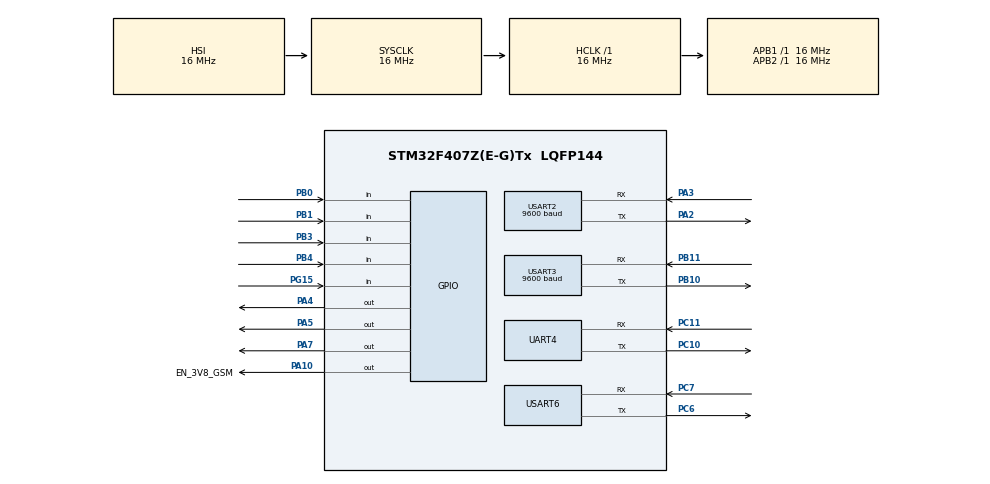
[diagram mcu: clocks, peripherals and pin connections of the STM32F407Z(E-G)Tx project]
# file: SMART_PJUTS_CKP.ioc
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Mcu.Family=STM32F4
Mcu.Name=STM32F407Z(E-G)Tx
Mcu.Package=LQFP144
NVIC.PriorityGroup=NVIC_PRIORITYGROUP_4
NVIC.USART2_IRQn=true\:0\:0\:false\:false\:true\:true\:true\:true
PA10.GPIO_Label=EN_3V8_GSM
PA10.Signal=GPIO_Output
PA13.Mode=Serial_Wire
PA13.Signal=SYS_JTMS-SWDIO
PA14.Mode=Serial_Wire
PA14.Signal=SYS_JTCK-SWCLK
PA2.Mode=Asynchronous
PA2.Signal=USART2_TX
PA3.Mode=Asynchronous
PA3.Signal=USART2_RX
PA4.Signal=GPIO_Output
PA5.Signal=GPIO_Output
PA7.Signal=GPIO_Output
PB0.Signal=GPIO_Input
PB1.Signal=GPIO_Input
PB10.Mode=Asynchronous
PB10.Signal=USART3_TX
PB11.Mode=Asynchronous
PB11.Signal=USART3_RX
PB3.Signal=GPIO_Input
PB4.Signal=GPIO_Input
PC10.Mode=Asynchronous
PC10.Signal=UART4_TX
PC11.Mode=Asynchronous
PC11.Signal=UART4_RX
PC6.Mode=Asynchronous
PC6.Signal=USART6_TX
PC7.Mode=Asynchronous
PC7.Signal=USART6_RX
PG15.Signal=GPIO_Input
ProjectManager.HeapSize=0x200
ProjectManager.StackSize=0x400
ProjectManager.TargetToolchain=STM32CubeIDE
RCC.AHBFreq_Value=16000000
RCC.APB1Freq_Value=16000000
RCC.APB2Freq_Value=16000000
RCC.CortexFreq_Value=16000000
RCC.HSE_VALUE=25000000
RCC.HSI_VALUE=16000000
RCC.LSE_VALUE=32768
RCC.SYSCLKFreq_VALUE=16000000
RCC.VCOOutputFreq_Value=192000000
UART4.VirtualMode=Asynchronous
USART2.BaudRate=9600
USART2.VirtualMode=VM_ASYNC
USART3.BaudRate=9600
USART3.VirtualMode=VM_ASYNC
USART6.VirtualMode=VM_ASYNC
board=custom

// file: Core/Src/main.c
/* USER CODE BEGIN Header */
/**
  ******************************************************************************
  * @file           : main.c
  * @brief          : Main program body
  ******************************************************************************
  * @attention
  *
  * Copyright (c) 2026 STMicroelectronics.
  * All rights reserved.
  *
  * This software is licensed under terms that can be found in the LICENSE file
  * in the root directory of this software component.
  * If no LICENSE file comes with this software, it is provided AS-IS.
  *
  ******************************************************************************
  */
/* USER CODE END Header */
#include "main.h"

/* USER CODE BEGIN Includes */
#include "mqtt.h"
#include "uart.h"
#include "config.h"
#include "read_sensor.h"
#include <stdlib.h>
#include <stdio.h>
/* USER CODE END Includes */

/* USER CODE BEGIN PTD */
static uint32_t last_read_tick    = 0;  /* timer pembacaan sensor SRNE  */
static uint32_t last_publish_tick = 0;  /* timer publish MQTT           */

static int     retry_count_local = 0;
static int     total_retry       = 0;
static char    last_topic[128]   = {0};
static char    last_payload[512] = {0};

/* Bangun 1 object JSON "DATA" dari nilai sensor SRNE + waktu saat ini,
 * sesuai format payload yang diminta.                                       */
static void Build_Sensor_Payload(char *out, size_t out_size)
{
    snprintf(out, out_size,
        "{\"UID\":\"%s\",\"HEADER\":\"%s\","
        "\"CTIME\":\"%04d%02d%02dT%02d%02d%02d\","
        "\"VBAT\":%g,\"IBAT\":%g,\"SOCBAT\":%g,"
        "\"DEVTEMP\":%g,\"BATTEMP\":%g,"
        "\"VLOAD\":%g,\"ILOAD\":%g,\"PLOAD\":%g,"
        "\"VPV\":%g,\"IPV\":%g,\"PPV\":%g,"
        "\"CHRSTATE\":%u}",
        uid, header_x,
        year, month, day, hour, minute, second,
        (double)batteryVoltage, (double)batteryCurrent, (double)batterySOC,
        (double)deviceTemperature, (double)batteryTemperature,
        (double)loadVoltage, (double)loadCurrent, (double)loadPower,
        (double)pvVolt, (double)pvCurrent, (double)pvPower,
        (unsigned)chargeState);
}
/* USER CODE END PTD */

UART_HandleTypeDef huart4;
UART_HandleTypeDef huart2;
UART_HandleTypeDef huart3;
UART_HandleTypeDef huart6;

void SystemClock_Config(void);
static void MX_GPIO_Init(void);
static void MX_UART4_Init(void);
static void MX_USART2_UART_Init(void);
static void MX_USART3_UART_Init(void);
static void MX_USART6_UART_Init(void);

int main(void)
{

  /* USER CODE BEGIN 1 */
	  uint32_t millis(void) {
		return HAL_GetTick();
	  }
  /* USER CODE END 1 */

  /* MCU Configuration--------------------------------------------------------*/

  /* Reset of all peripherals, Initializes the Flash interface and the Systick. */
  HAL_Init();

  /* Configure the system clock */
  SystemClock_Config();

  /* Initialize all configured peripherals */
  MX_GPIO_Init();
  MX_UART4_Init();
  MX_USART2_UART_Init();
  MX_USART3_UART_Init();
  MX_USART6_UART_Init();
  /* USER CODE BEGIN 2 */
  UART_Init_Buffer(&huart2);  /* modem terhubung ke USART2 di board ini */
  HAL_GPIO_WritePin(EN_3V8_GSM_GPIO_Port, EN_3V8_GSM_Pin, GPIO_PIN_SET);
  HAL_Delay(6000);
  Read_All_Sensor();

  for (int i = 0; i < 3; i++)
  {
      UART_SendATCommand("ATE0");
      if (UART_WaitForOK(2000)) break;
      HAL_Delay(500);
  }

  /* ── Build MQTT credentials dari config.c ───────────────────────────────── */
  MQTT_Config mqtt_cfg = Config_GetMQTT();
  MQTT_Init(&mqtt_cfg);

  /* ── MQTT connection sequence ────────────────────────────────────────────── */
    MQTT_START:
    retry_count_local = 0;
    total_retry        = 0;

    UART_SendATCommand("AT+QMTCFG=\"session\",0,1");
    UART_WaitForOK(3000);
    UART_SendATCommand("AT+QMTCFG=\"keepalive\",0,3600");
    UART_WaitForOK(3000);

    UART_SendATCommand("AT+QMTDISC=0");
    HAL_Delay(500);
    UART_SendATCommand("AT+QMTCLOSE=0");
    HAL_Delay(2000);

    while (MQTT_Open() != MQTT_OK)
    {
        MQTT_CheckNetwork();
        UART_SendATCommand("AT+QMTCLOSE=0");
        HAL_Delay(3000);
        retry_count_local++;
        total_retry++;

        if (total_retry >= 10)
        {
            HAL_GPIO_WritePin(EN_3V8_GSM_GPIO_Port, EN_3V8_GSM_Pin, GPIO_PIN_RESET);
            HAL_Delay(3000);
            NVIC_SystemReset();
            while (1) {}
        }
        if (retry_count_local >= 5)
        {
            retry_count_local = 0;
            goto MQTT_START;
        }
    }

    while (MQTT_Connect() != MQTT_OK)
    {
        UART_SendATCommand("AT+QMTDISC=0");
        retry_count_local++;
        HAL_Delay(500);
        if (retry_count_local >= 3)
        {
            retry_count_local = 0;
            goto MQTT_START;
        }
        total_retry++;
        if (total_retry > 10)
        {
            NVIC_SystemReset();
            while (1) {}
        }
    }

    retry_count_local = 0;
    while (MQTT_Subscribe(mqtt_topic_sub, 1) != MQTT_OK)
    {
        HAL_Delay(500);
        retry_count_local++;
        if (retry_count_local >= 5) goto MQTT_START;
    }

    MQTT_Publish(mqtt_topic_pub, "{\"MSG\":\"Terhubung SRNE-MQTT\"}", 1, 0);
    HAL_Delay(50);

    /* Baca sensor pertama kali (setelah modem siap → mqtt_read_time bisa jalan) */
    Read_All_Sensor();
    HAL_Delay(100);
    char data_obj[512];
    Build_Sensor_Payload(data_obj, sizeof(data_obj));
    MQTT_PublishWithCRC(mqtt_topic_pub, data_obj, 1, 0);

    last_read_tick    = HAL_GetTick();
    last_publish_tick = HAL_GetTick();
  /* USER CODE END 2 */

  /* Infinite loop */
  while (1)
  {

    /* USER CODE BEGIN 3 */
	  uint32_t now = HAL_GetTick();

	       /* ── Baca sensor SRNE (via Modbus di huart3) tiap read_interval ────── */
	       if ((now - last_read_tick) >= read_interval)
	       {
	           last_read_tick = now;
	           Read_All_Sensor();   /* ini juga panggil mqtt_read_time() → update year..second */
	       }

	       /* ── Publish data ke MQTT tiap send_interval ──────────────────────── */
//	       if ((now - last_publish_tick) >= send_interval)
//	       {
//	           last_publish_tick = now;
//
//	           char data_obj[512];
//	           Build_Sensor_Payload(data_obj, sizeof(data_obj));
//
//	           if (MQTT_PublishWithCRC(mqtt_topic_pub, data_obj, 1, 0) != MQTT_OK)
//	           {
//	               resend_count++;
//	           }
//	       }

	       /* ── Reconnect otomatis kalau modem lapor +QMTSTAT disconnect ──────── */
	       if (mqtt_disconnected)
	       {
	           mqtt_disconnected = false;
	           if (MQTT_Reconnect() == MQTT_OK)
	           {
	               MQTT_Subscribe(mqtt_topic_sub, 1);
	           }
	           else
	           {
	               goto MQTT_START;
	           }
	       }

	       /* ── Proses pesan downlink (mis. request data on-demand H:"R") ──────── */
	      	   if (mqtt_data_ready)
	      	   {
	      	       if (MQTT_ProcessIncoming(last_topic,   sizeof(last_topic),
	      	                                last_payload, sizeof(last_payload)))
	      	       {
	      	           UART_ClearBuffer();

	      	           /* Dua format payload didukung:
	      	            *   1) Dengan CRC : {"CRC":"XXXX","DATA":{...}}   → diverifikasi
	      	            *   2) Tanpa CRC  : {"DATA":{...}}  atau  {...} langsung
	      	            *      (mis. {"H":"R"} polos) → dipakai apa adanya, TANPA
	      	            *      pengecekan integritas.                                   */
	      	           char data_obj_in[512];
	      	           bool got_data = false;

	      	           if (strstr(last_payload, "\"CRC\":") != NULL)
	      	           {
	      	               /* Ada field CRC → wajib valid, kalau salah payload ditolak */
	      	               if (MQTT_VerifyPayloadCRC(last_payload))
	      	               {
	      	                   got_data = MQTT_ExtractDataObject(last_payload, data_obj_in,
	      	                                                     sizeof(data_obj_in));
	      	               }
	      	           }
	      	           else if (strstr(last_payload, "\"DATA\":") != NULL)
	      	           {
	      	               /* Tanpa CRC tapi masih dibungkus "DATA": {...} */
	      	               got_data = MQTT_ExtractDataObject(last_payload, data_obj_in,
	      	                                                 sizeof(data_obj_in));
	      	           }
	      	           else
	      	           {
	      	               /* Payload langsung berupa object command, mis. {"H":"R"} */
	      	               strncpy(data_obj_in, last_payload, sizeof(data_obj_in) - 1);
	      	               data_obj_in[sizeof(data_obj_in) - 1] = '\0';
	      	               got_data = true;
	      	           }

	      	           if (got_data)
	      	           {
	      	               /* Command H:"R" → kirim data sensor sekarang juga */
	      	               if (strstr(data_obj_in, "\"H\":\"R\"") != NULL)
	      	               {
	      	                   Read_All_Sensor();

	      	                   char data_obj_out[512];
	      	                   Build_Sensor_Payload(data_obj_out, sizeof(data_obj_out));
	      	                   MQTT_PublishWithCRC(mqtt_topic_pub, data_obj_out, 1, 0);
	      	               }
	      	           }
	      	       }
	      	       else
	      	       {
	      	           /* Parsing gagal — reset manual */
	      	           mqtt_data_ready = false;
	      	           UART_ClearBuffer();
	      	       }
	      	   }

	       HAL_Delay(10);
	   }
  /* USER CODE END 3 */
}

void SystemClock_Config(void)
{
  RCC_OscInitTypeDef RCC_OscInitStruct = {0};
  RCC_ClkInitTypeDef RCC_ClkInitStruct = {0};

  /** Configure the main internal regulator output voltage
  */
  __HAL_RCC_PWR_CLK_ENABLE();
  __HAL_PWR_VOLTAGESCALING_CONFIG(PWR_REGULATOR_VOLTAGE_SCALE1);

  /** Initializes the RCC Oscillators according to the specified parameters
  * in the RCC_OscInitTypeDef structure.
  */
  RCC_OscInitStruct.OscillatorType = RCC_OSCILLATORTYPE_HSI;
  RCC_OscInitStruct.HSIState = RCC_HSI_ON;
  RCC_OscInitStruct.HSICalibrationValue = RCC_HSICALIBRATION_DEFAULT;
  RCC_OscInitStruct.PLL.PLLState = RCC_PLL_NONE;
  if (HAL_RCC_OscConfig(&RCC_OscInitStruct) != HAL_OK)
  {
    Error_Handler();
  }

  /** Initializes the CPU, AHB and APB buses clocks
  */
  RCC_ClkInitStruct.ClockType = RCC_CLOCKTYPE_HCLK|RCC_CLOCKTYPE_SYSCLK
                              |RCC_CLOCKTYPE_PCLK1|RCC_CLOCKTYPE_PCLK2;
  RCC_ClkInitStruct.SYSCLKSource = RCC_SYSCLKSOURCE_HSI;
  RCC_ClkInitStruct.AHBCLKDivider = RCC_SYSCLK_DIV1;
  RCC_ClkInitStruct.APB1CLKDivider = RCC_HCLK_DIV1;
  RCC_ClkInitStruct.APB2CLKDivider = RCC_HCLK_DIV1;

  if (HAL_RCC_ClockConfig(&RCC_ClkInitStruct, FLASH_LATENCY_0) != HAL_OK)
  {
    Error_Handler();
  }
}

static void MX_UART4_Init(void)
{

  huart4.Instance = UART4;
  huart4.Init.BaudRate = 115200;
  huart4.Init.WordLength = UART_WORDLENGTH_8B;
  huart4.Init.StopBits = UART_STOPBITS_1;
  huart4.Init.Parity = UART_PARITY_NONE;
  huart4.Init.Mode = UART_MODE_TX_RX;
  huart4.Init.HwFlowCtl = UART_HWCONTROL_NONE;
  huart4.Init.OverSampling = UART_OVERSAMPLING_16;
  if (HAL_UART_Init(&huart4) != HAL_OK)
  {
    Error_Handler();
  }

}

static void MX_USART2_UART_Init(void)
{

  huart2.Instance = USART2;
  huart2.Init.BaudRate = 9600;
  huart2.Init.WordLength = UART_WORDLENGTH_8B;
  huart2.Init.StopBits = UART_STOPBITS_1;
  huart2.Init.Parity = UART_PARITY_NONE;
  huart2.Init.Mode = UART_MODE_TX_RX;
  huart2.Init.HwFlowCtl = UART_HWCONTROL_NONE;
  huart2.Init.OverSampling = UART_OVERSAMPLING_16;
  if (HAL_UART_Init(&huart2) != HAL_OK)
  {
    Error_Handler();
  }

}

static void MX_USART3_UART_Init(void)
{

  huart3.Instance = USART3;
  huart3.Init.BaudRate = 9600;
  huart3.Init.WordLength = UART_WORDLENGTH_8B;
  huart3.Init.StopBits = UART_STOPBITS_1;
  huart3.Init.Parity = UART_PARITY_NONE;
  huart3.Init.Mode = UART_MODE_TX_RX;
  huart3.Init.HwFlowCtl = UART_HWCONTROL_NONE;
  huart3.Init.OverSampling = UART_OVERSAMPLING_16;
  if (HAL_UART_Init(&huart3) != HAL_OK)
  {
    Error_Handler();
  }

}

static void MX_USART6_UART_Init(void)
{

  huart6.Instance = USART6;
  huart6.Init.BaudRate = 115200;
  huart6.Init.WordLength = UART_WORDLENGTH_8B;
  huart6.Init.StopBits = UART_STOPBITS_1;
  huart6.Init.Parity = UART_PARITY_NONE;
  huart6.Init.Mode = UART_MODE_TX_RX;
  huart6.Init.HwFlowCtl = UART_HWCONTROL_NONE;
  huart6.Init.OverSampling = UART_OVERSAMPLING_16;
  if (HAL_UART_Init(&huart6) != HAL_OK)
  {
    Error_Handler();
  }

}

static void MX_GPIO_Init(void)
{
  GPIO_InitTypeDef GPIO_InitStruct = {0};

  /* GPIO Ports Clock Enable */
  __HAL_RCC_GPIOA_CLK_ENABLE();
  __HAL_RCC_GPIOB_CLK_ENABLE();
  __HAL_RCC_GPIOC_CLK_ENABLE();
  __HAL_RCC_GPIOG_CLK_ENABLE();

  /*Configure GPIO pin Output Level */
  HAL_GPIO_WritePin(GPIOA, GPIO_PIN_4|GPIO_PIN_5|GPIO_PIN_7|EN_3V8_GSM_Pin, GPIO_PIN_RESET);

  /*Configure GPIO pins : PA4 PA5 PA7 EN_3V8_GSM_Pin */
  GPIO_InitStruct.Pin = GPIO_PIN_4|GPIO_PIN_5|GPIO_PIN_7|EN_3V8_GSM_Pin;
  GPIO_InitStruct.Mode = GPIO_MODE_OUTPUT_PP;
  GPIO_InitStruct.Pull = GPIO_NOPULL;
  GPIO_InitStruct.Speed = GPIO_SPEED_FREQ_LOW;
  HAL_GPIO_Init(GPIOA, &GPIO_InitStruct);

  /*Configure GPIO pins : PB0 PB1 PB3 PB4 */
  GPIO_InitStruct.Pin = GPIO_PIN_0|GPIO_PIN_1|GPIO_PIN_3|GPIO_PIN_4;
  GPIO_InitStruct.Mode = GPIO_MODE_INPUT;
  GPIO_InitStruct.Pull = GPIO_NOPULL;
  HAL_GPIO_Init(GPIOB, &GPIO_InitStruct);

  /*Configure GPIO pin : PG15 */
  GPIO_InitStruct.Pin = GPIO_PIN_15;
  GPIO_InitStruct.Mode = GPIO_MODE_INPUT;
  GPIO_InitStruct.Pull = GPIO_NOPULL;
  HAL_GPIO_Init(GPIOG, &GPIO_InitStruct);

}

void Error_Handler(void)
{
  __disable_irq();
  while (1)
  {
  }
}
